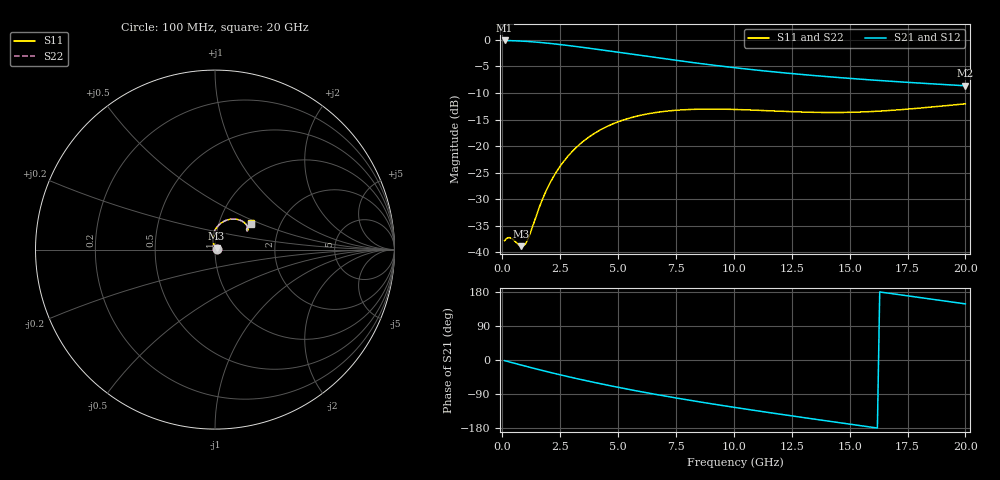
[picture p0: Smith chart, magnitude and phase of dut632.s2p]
! Touchstone file exported from HFSS 2024.1.0
!  File:  C:/UserFiles/LocalFiles/RDL_TSV_Batchsim/temp_RDL_TSV_632_1779804607.aedt
!  Generated:  10:25:42 PM May 26, 2026
!  Design:  RDL_TSV
!  Project:  temp_RDL_TSV_632_1779804607
!  Setup:  Setup1
!  Solution:  Sweep
! Variables:
!  dtsv = 5.26um
!  hbump = 3um
!  htsv = 97.88um
!  ldown = 137.94um
!  lrdl = 646.07um
!  p = 40
!  p1 = 43.68um
!  rhole = 10um
!  subl = 2998.1um
!  t = 450um
!  tdown = 2.5um
!  trdl = 4.71um
!  viad = 10um
!  wdown = 26.37um
!  wrdl = 26.11um
!  xbump = 18um
# GHz S MA R 50.000000
! Terminal data exported
! Port[1] = TM1_1_T1
! Port[2] = TM1_4_T1
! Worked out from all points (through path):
!   200 points, 100 MHz to 20 GHz, reference 50 ohm
!   highest |S21| = -0.11 dB at 100 MHz (marker M1); lowest = -8.6 dB at 20 GHz (marker M2)
!   group delay of S21, straight-line fit = 28.1 ps
!   lowest |S11| = -38.8 dB at 800 MHz (marker M3), VSWR 1.02, Z = 50.9 + j0.767 ohm
!   |S11| at or under -10 dB: start of sweep to end of sweep
!   |S22| runs from -38.8 to -12.1 dB; largest |S21 - S12| = 9.5e-15
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0.1  0.01287 7.7  0.987 -1.7  0.987 -1.7  0.01287 7.7
! Gamma 0 0 0 0
! Port Impedance 50 0 50 0
0.3  0.01377 13.6  0.9841 -5.0  0.9841 -5.0  0.01377 13.6
0.8  0.01142 41.3  0.9743 -13.1  0.9743 -13.1  0.01144 41.2
0.9  0.01143 52.0  0.9716 -14.7  0.9716 -14.7  0.01145 51.9
1  0.01199 63.2  0.9687 -16.3  0.9687 -16.3  0.012 63.1
1.1  0.01318 73.7  0.9656 -17.9  0.9656 -17.9  0.01318 73.6
1.6  0.02657 100.5  0.9467 -25.7  0.9467 -25.7  0.02654 100.4
1.8  0.03408 103.1  0.9378 -28.7  0.9378 -28.7  0.03404 103.1
2.3  0.05547 102.6  0.9135 -36.2  0.9135 -36.2  0.05541 102.5
2.9  0.08335 96.8  0.8816 -44.7  0.8816 -44.7  0.08326 96.8
3.5  0.111 89.5  0.8482 -52.9  0.8482 -52.9  0.1109 89.4
4.2  0.1406 80.7  0.8089 -62.1  0.8089 -62.1  0.1405 80.6
4.9  0.1659 72.3  0.7702 -70.8  0.7702 -70.8  0.1657 72.3
5.8  0.191 62.6  0.7225 -81.5  0.7225 -81.5  0.1909 62.6
6.8  0.2095 53.4  0.6732 -92.7  0.6732 -92.7  0.2094 53.3
8.4  0.2222 42.0  0.6043 -109.3  0.6043 -109.3  0.2222 41.9
10.1  0.221 34.2  0.5448 -125.7  0.5448 -125.7  0.221 34.1
11.7  0.2141 30.7  0.5002 -140.4  0.5002 -140.4  0.2141 30.6
13.4  0.2079 30.3  0.4624 -155.4  0.4624 -155.4  0.2079 30.1
15  0.2078 32.0  0.4337 -169.3  0.4337 -169.3  0.2077 31.8
16.7  0.216 34.4  0.4085 176.2  0.4085 176.2  0.2157 34.1
20  0.2499 35.7  0.3697 148.1  0.3697 148.1  0.2491 35.4
